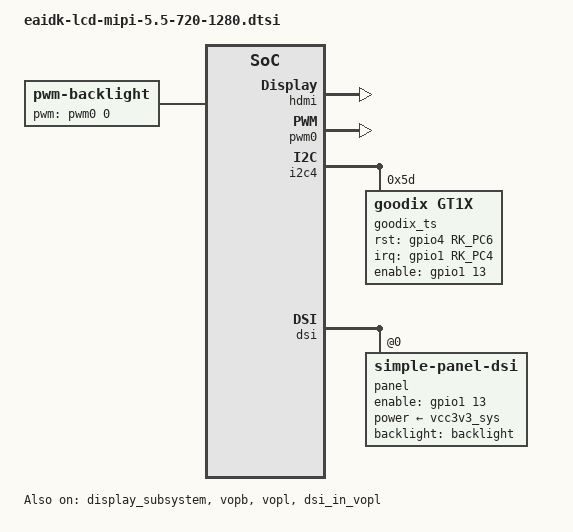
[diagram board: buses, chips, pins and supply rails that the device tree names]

/ {
	
	backlight: backlight {
		status = "okay";
		compatible = "pwm-backlight";
		pwms = <&pwm0 0 25000 0>;
		brightness-levels = <
			  0   1   2   3   4   5   6   7
			  8   9  10  11  12  13  14  15
			 16  17  18  19  20  21  22  23
			 24  25  26  27  28  29  30  31
			 32  33  34  35  36  37  38  39
			 40  41  42  43  44  45  46  47
			 48  49  50  51  52  53  54  55
			 56  57  58  59  60  61  62  63
			 64  65  66  67  68  69  70  71
			 72  73  74  75  76  77  78  79
			 80  81  82  83  84  85  86  87
			 88  89  90  91  92  93  94  95
			 96  97  98  99 100 101 102 103
			104 105 106 107 108 109 110 111
			112 113 114 115 116 117 118 119
			120 121 122 123 124 125 126 127
			128 129 130 131 132 133 134 135
			136 137 138 139 140 141 142 143
			144 145 146 147 148 149 150 151
			152 153 154 155 156 157 158 159
			160 161 162 163 164 165 166 167
			168 169 170 171 172 173 174 175
			176 177 178 179 180 181 182 183
			184 185 186 187 188 189 190 191
			192 193 194 195 196 197 198 199
			200 201 202 203 204 205 206 207
			208 209 210 211 212 213 214 215
			216 217 218 219 220 221 222 223
			224 225 226 227 228 229 230 231
			232 233 234 235 236 237 238 239
			240 241 242 243 244 245 246 247
			248 249 250 251 252 253 254 255>;
		default-brightness-level = <255>;
	};

	//bill  
        rpdzkj_config {
                compatible = "rp_config";
                user_version = "rpdzkj";
                system_rotate = "0";
                back_camera_rotate = "0";
                front_camera_rotate = "0";
                lcd_density = "240";
                language = "zh-CN";   //zh-CN //en-US
                time_zone = "Asia/Shanghai"; //Asia/Shanghai = +8   //Europe/London  = +1	//Africa/Casablanca	= +0;
                not_navigation_bar = "false";
                not_status_bar = "false";
                default_launcher = "true";
                has_root = "true";  //true//false
                usb_not_permission = "true";  
                usb_camera_only_front = "false";
                gps_use = "false";
                gps_serial_port = "/dev/ttyS5"; //UART4
                status = "okay";
        };
};


&hdmi {
	#address-cells = <1>;
	#size-cells = <0>;
	#sound-dai-cells = <0>;
	ddc-i2c-scl-high-time-ns = <9625>;
	ddc-i2c-scl-low-time-ns = <10000>;
	status = "okay";
};

&pwm0 {
	status = "okay";
};

&i2c4 {
        status = "okay";
		goodix_ts@5d {
                compatible = "goodix,gt1x";
                reg = <0x5d>;
		goodix,rst-gpio = <&gpio4 RK_PC6 GPIO_ACTIVE_HIGH>;
		goodix,irq-gpio = <&gpio1 RK_PC4 IRQ_TYPE_LEVEL_LOW>;
		goodix,enable-gpio = <&gpio1 13 GPIO_ACTIVE_HIGH>;
	};
};

&display_subsystem {
	status = "okay";

	ports = <&vopb_out>, <&vopl_out>;
	logo-memory-region = <&drm_logo>;

	route {
		route_hdmi: route-hdmi {
			status = "okay";
			logo,uboot = "logo.bmp";
			logo,kernel = "logo_kernel.bmp";
			logo,mode = "fullscreen";
			charge_logo,mode = "center";
			connect = <&vopl_out_hdmi>;
		};

		route_dsi: route-dsi {

			status = "okay";
			logo,uboot = "logo.bmp";
			logo,kernel = "logo_kernel.bmp";
			logo,mode = "fullscreen";
			charge_logo,mode = "center";
			connect = <&vopb_out_dsi>;
		};

		route_dsi1: route-dsi1 {
			status = "disabled";
			logo,uboot = "logo.bmp";
			logo,kernel = "logo_kernel.bmp";
			logo,mode = "fullscreen";
			charge_logo,mode = "center";
			connect = <&vopl_out_dsi1>;
		};

		route_edp: route-edp {
			status = "disabled";
			logo,uboot = "logo.bmp";
			logo,kernel = "logo_kernel.bmp";
			logo,mode = "fullscreen";
			charge_logo,mode = "center";
			connect = <&vopb_out_edp>;
		};
	};
};

&dsi {
        status = "okay";

        panel {
                compatible ="simple-panel-dsi";
                status = "okay";
                reg = <0>;
		power-supply = <&vcc3v3_sys>;
                backlight = <&backlight>;
		cmd_later_reset = <0>;
                enable-gpios = <&gpio1 13 GPIO_ACTIVE_HIGH>;

		width-mm = <68>;
		height-mm = <121>;

		dsi,flags = <(MIPI_DSI_MODE_VIDEO | MIPI_DSI_MODE_VIDEO_BURST |
			      MIPI_DSI_MODE_LPM | MIPI_DSI_MODE_EOT_PACKET)>;
                dsi,format = <MIPI_DSI_FMT_RGB888>;
//		bus-format = <MEDIA_BUS_FMT_RGB666_1X24>;
                dsi,lanes = <4>;
		prepare-delay-ms = <2>;
		reset-delay-ms = <1>;
		init-delay-ms = <20>;
		enable-delay-ms = <120>;
		disable-delay-ms = <50>;
		unprepare-delay-ms = <20>;

					//for king/rp/rd board cannot enable boot logo
                                        pinctrl-names = "default";
                                        pinctrl-0 = <&pwr_en>;
		panel-init-sequence = [
			05 fa 01 11
			39 00 04 b9 f1 12 83
			39 00 1c ba 33 81 05 f9 0e 0e 00 00 00
				 00 00 00 00 00 44 25 00 91 0a
				 00 00 02 4f 01 00 00 37
			15 00 02 b8 25
			39 00 04 bf 02 11 00
			39 00 0b b3 0c 10 0a 50 03 ff 00 00 00
				 00
			39 00 0a c0 73 73 50 50 00 00 08 70 00
			15 00 02 bc 46
			15 00 02 cc 0b
			15 00 02 b4 80
			39 00 04 b2 c8 12 30
			39 00 0f e3 07 07 0b 0b 03 0b 00 00 00
				 00 ff 00 c0 10
			39 00 0d c1 53 00 1e 1e 77 e1 cc dd 67
				 77 33 33
			39 00 07 c6 00 00 ff ff 01 ff
			39 00 03 b5 09 09
			39 00 03 b6 87 95
			39 00 40 e9 c2 10 05 05 10 05 a0 12 31
				 23 3f 81 0a a0 37 18 00 80 01
				 00 00 00 00 80 01 00 00 00 48
				 f8 86 42 08 88 88 80 88 88 88
				 58 f8 87 53 18 88 88 81 88 88
				 88 00 00 00 01 00 00 00 00 00
				 00 00 00 00
			39 00 3e ea 00 1a 00 00 00 00 02 00 00
				 00 00 00 1f 88 81 35 78 88 88
				 85 88 88 88 0f 88 80 24 68 88
				 88 84 88 88 88 23 10 00 00 1c
				 00 00 00 00 00 00 00 00 00 00
				 00 00 00 00 00 30 05 a0 00 00
				 00 00
			39 00 23 e0 00 06 08 2a 31 3f 38 36 07
				 0c 0d 11 13 12 13 11 18 00 06
				 08 2a 31 3f 38 36 07 0c 0d 11
				 13 12 13 11 18
			05 32 01 29
		];

		panel-exit-sequence = [
			05 00 01 28
			05 00 01 10
		];

                display-timings {
                        native-mode = <&timing0>;
                        timing0: timing0 {
                                clock-frequency = <64000000>;
                                hactive = <720>;
                                vactive = <1280>;
                                hback-porch = <40>;
                                hfront-porch = <40>;
                                vback-porch = <11>;
                                vfront-porch = <22>;
                                hsync-len = <10>;
                                vsync-len = <4>;
                                hsync-active = <0>;
                                vsync-active = <0>;
                                de-active = <0>;
                                pixelclk-active = <0>;
                        };
                };
        };
};

&vopb {
        assigned-clocks = <&cru DCLK_VOP0_DIV>;
        assigned-clock-parents = <&cru PLL_CPLL>;
        //assigned-clock-parents = <&cru PLL_VPLL>;
        status = "okay";
};

&vopb_mmu {
        status = "okay";
};

&vopl {
        assigned-clocks = <&cru DCLK_VOP1_DIV>;
        assigned-clock-parents = <&cru PLL_VPLL>;
        //assigned-clock-parents = <&cru PLL_CPLL>;
        status = "okay";
};

&vopl_mmu {
        status = "okay";
};

&dsi_in_vopl { 
        status = "okay"; 
}; 
 
&hdmi_in_vopb { 
        status = "disabled"; 
}; 
 
&edp_in_vopb { 
        status = "disabled"; 
}; 
&edp_in_vopl { 
        status = "disabled"; 
}; 

&dsi1_in_vopb { 
        status = "disabled"; 
}; 
&dsi1_in_vopl { 
        status = "disabled"; 
}; 

&pinctrl{
        pwr_5v {
                        pwr_en: pwr-en {
                                rockchip,pins = //<1 13 RK_FUNC_GPIO &pcfg_pull_up>,
                                                <4 30 RK_FUNC_GPIO &pcfg_pull_up>;
                        };
        };
};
